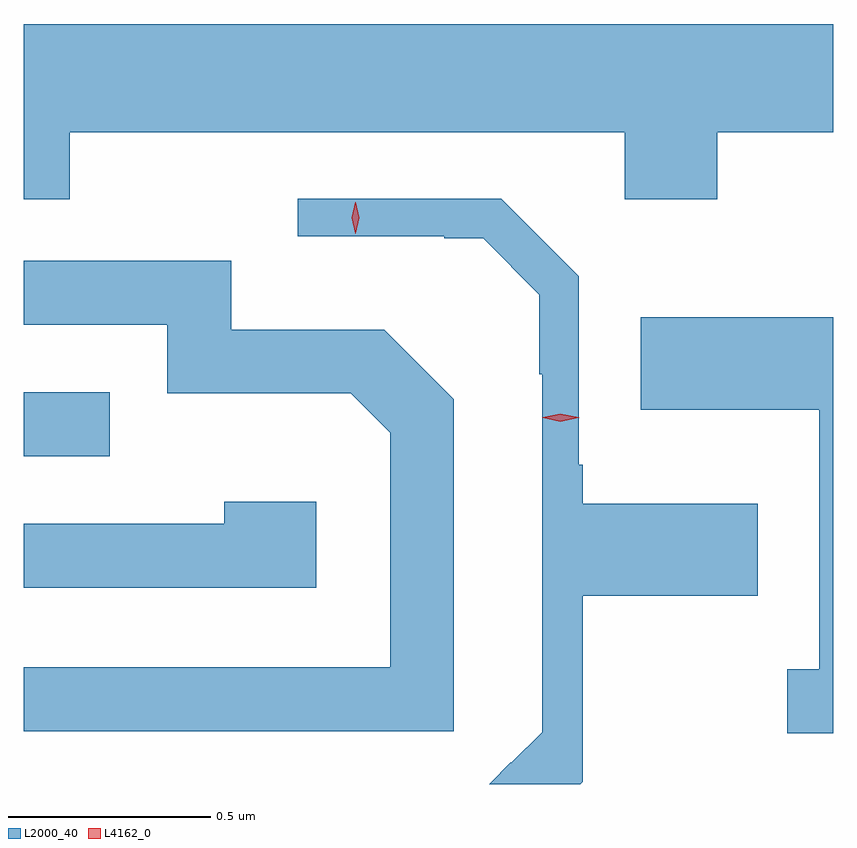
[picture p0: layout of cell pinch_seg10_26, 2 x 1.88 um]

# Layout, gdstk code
import gdstk
lib = gdstk.Library(unit=1e-6, precision=1e-09)
def R(c, l, rs):  # rectangles x0, y0, x1, y1
    for r in rs: c.add(gdstk.rectangle(r[:2], r[2:], *l))
def P(c, l, *ps):  # polygons
    for p in ps: c.add(gdstk.Polygon(p, *l))
L2000_40 = (2000, 40)
L4162_0 = (4162, 0)

pinch_seg10_26 = lib.new_cell('pinch_seg10_26')
R(pinch_seg10_26, L2000_40, [(657.166,2106.456,657.378,2106.614)])
P(pinch_seg10_26, L2000_40, [(657.279,2107.256),(658.651,2107.256),(658.651,2107.091),(658.879,2107.091),(658.879,2107.256),(659.166,2107.256),(659.166,2107.524),(657.166,2107.524),(657.166,2107.091),(657.279,2107.091)],
  [(658.547,2105.652),(658.547,2106.111),(658.979,2106.111),(658.979,2106.339),(658.547,2106.339),(658.547,2106.435),(658.537,2106.435),(658.537,2106.901),(658.346,2107.092),(657.843,2107.092),(657.843,2107),(658.205,2107),(658.205,2106.994),(658.301,2106.994),(658.44,2106.855),(658.44,2106.659),(658.447,2106.659),(658.447,2105.774),(658.371,2105.698),(658.369,2105.7),(658.316,2105.646),(658.541,2105.646)],
  [(658.229,2106.597),(658.057,2106.769),(657.679,2106.769),(657.679,2106.939),(657.166,2106.939),(657.166,2106.781),(657.521,2106.781),(657.521,2106.611),(657.974,2106.611),(658.071,2106.514),(658.071,2105.934),(657.166,2105.934),(657.166,2105.776),(658.229,2105.776)],
  [(659.166,2106.799),(658.691,2106.799),(658.691,2106.571),(659.131,2106.571),(659.131,2105.929),(659.053,2105.929),(659.053,2105.771),(659.166,2105.771)],
  [(657.889,2106.344),(657.661,2106.344),(657.661,2106.289),(657.166,2106.289),(657.166,2106.131),(657.889,2106.131)])
P(pinch_seg10_26, L4162_0, [(657.985,2107.006),(657.985,2107.007),(657.976,2107.045),(657.985,2107.083),(657.986,2107.083),(657.986,2107.083),(657.995,2107.045),(657.986,2107.007)],
  [(658.492,2106.541),(658.448,2106.551),(658.447,2106.551),(658.448,2106.552),(658.492,2106.561),(658.537,2106.552),(658.538,2106.551),(658.537,2106.551)])

lib.write_gds('pinch_seg10_26.gds')
